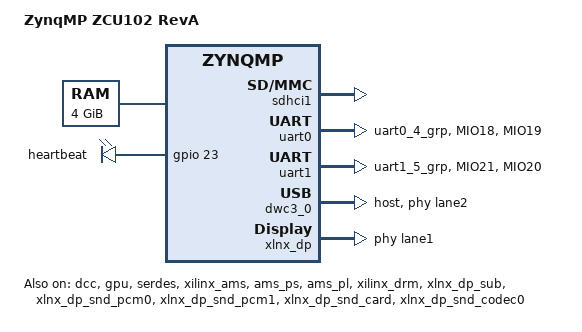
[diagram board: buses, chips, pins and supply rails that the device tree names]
/*
 * dts file for Xilinx ZynqMP ZCU102 RevA
 *
 * (C) Copyright 2015, Xilinx, Inc.
 *
 * Michal Simek <michal.simek@xilinx.com>
 *
 * SPDX-License-Identifier:	GPL-2.0+
 */

/dts-v1/;

#include "zynqmp.dtsi"
#include "zynqmp-clk-ccf.dtsi"
#include <dt-bindings/gpio/gpio.h>
#include <dt-bindings/pinctrl/pinctrl-zynqmp.h>
#include <dt-bindings/phy/phy.h>

/ {
	model = "ZynqMP ZCU102 RevA";
	compatible = "xlnx,zynqmp-zcu102-revA", "xlnx,zynqmp-zcu102", "xlnx,zynqmp";

	aliases {
		ethernet0 = &gem3;
		gpio0 = &gpio;
		i2c0 = &i2c0;
		i2c1 = &i2c1;
		mmc1 = &sdhci1;
                mmc0 = &sdhci0;
		rtc0 = &rtc;
		serial0 = &uart0;
		serial1 = &uart1;
		serial2 = &dcc;
		spi0 = &qspi;
		usb0 = &usb0;
	};
	chosen {
		bootargs = "earlycon";
		stdout-path = "serial0:115200n8";
	};

	memory@0 {
		device_type = "memory";
		reg = <0x0 0x0 0x0 0x80000000>, <0x8 0x00000000 0x0 0x80000000>;
	};


	leds {
		compatible = "gpio-leds";
		heartbeat_led {
			label = "heartbeat";
			gpios = <&gpio 23 GPIO_ACTIVE_HIGH>;
			linux,default-trigger = "heartbeat";
		};
	};
};


&dcc {
	status = "okay";
};

/* fpd_dma clk 667MHz, lpd_dma 500MHz */
&fpd_dma_chan1 {
	status = "okay";
	xlnx,include-sg; /* for testing purpose */
	xlnx,overfetch; /* for testing purpose */
	xlnx,ratectrl = <0>; /* for testing purpose */
	xlnx,src-issue = <31>;
};

&fpd_dma_chan2 {
	status = "okay";
	xlnx,ratectrl = <100>; /* for testing purpose */
	xlnx,src-issue = <4>; /* for testing purpose */
};

&fpd_dma_chan3 {
	status = "okay";
};

&fpd_dma_chan4 {
	status = "okay";
	xlnx,include-sg; /* for testing purpose */
};

&fpd_dma_chan5 {
	status = "okay";
};

&fpd_dma_chan6 {
	status = "okay";
	xlnx,include-sg; /* for testing purpose */
};

&fpd_dma_chan7 {
	status = "okay";
};

&fpd_dma_chan8 {
	status = "okay";
	xlnx,include-sg; /* for testing purpose */
};

&gem3 {
	local-mac-address = [00 0a 35 00 22 01];
};


&gpu {
	status = "okay";
};




&pinctrl0 {
	status = "okay";


	pinctrl_uart0_default: uart0-default {
		mux {
			groups = "uart0_4_grp";
			function = "uart0";
		};

		conf {
			groups = "uart0_4_grp";
			slew-rate = <SLEW_RATE_SLOW>;
			io-standard = <IO_STANDARD_LVCMOS18>;
		};

		conf-rx {
			pins = "MIO18";
			bias-high-impedance;
		};

		conf-tx {
			pins = "MIO19";
			bias-disable;
		};
	};

	pinctrl_uart1_default: uart1-default {
		mux {
			groups = "uart1_5_grp";
			function = "uart1";
		};

		conf {
			groups = "uart1_5_grp";
			slew-rate = <SLEW_RATE_SLOW>;
			io-standard = <IO_STANDARD_LVCMOS18>;
		};

		conf-rx {
			pins = "MIO21";
			bias-high-impedance;
		};

		conf-tx {
			pins = "MIO20";
			bias-disable;
		};
	};

	
	pinctrl_gem3_default: gem3-default {
		mux {
			function = "ethernet3";
			groups = "ethernet3_0_grp";
		};

		conf {
			groups = "ethernet3_0_grp";
			slew-rate = <SLEW_RATE_SLOW>;
			io-standard = <IO_STANDARD_LVCMOS18>;
		};

		conf-rx {
			pins = "MIO70", "MIO71", "MIO72", "MIO73", "MIO74",
									"MIO75";
			bias-high-impedance;
			low-power-disable;
		};

		conf-tx {
			pins = "MIO64", "MIO65", "MIO66", "MIO67", "MIO68",
									"MIO69";
			bias-disable;
			low-power-enable;
		};

		mux-mdio {
			function = "mdio3";
			groups = "mdio3_0_grp";
		};

		conf-mdio {
			groups = "mdio3_0_grp";
			slew-rate = <SLEW_RATE_SLOW>;
			io-standard = <IO_STANDARD_LVCMOS18>;
			bias-disable;
		};
	};



	pinctrl_sdhci1_default: sdhci1-default {
		mux {
			groups = "sdio1_0_grp";
			function = "sdio1";
		};

		conf {
			groups = "sdio1_0_grp";
			slew-rate = <SLEW_RATE_SLOW>;
			io-standard = <IO_STANDARD_LVCMOS18>;
			bias-disable;
		};

		mux-cd {
			groups = "sdio1_0_cd_grp";
			function = "sdio1_cd";
		};

		conf-cd {
			groups = "sdio1_0_cd_grp";
			bias-high-impedance;
			bias-pull-up;
			slew-rate = <SLEW_RATE_SLOW>;
			io-standard = <IO_STANDARD_LVCMOS18>;
		};

		mux-wp {
			groups = "sdio1_0_wp_grp";
			function = "sdio1_wp";
		};

		conf-wp {
			groups = "sdio1_0_wp_grp";
			bias-high-impedance;
			bias-pull-up;
			slew-rate = <SLEW_RATE_SLOW>;
			io-standard = <IO_STANDARD_LVCMOS18>;
		};
	};

	
};





/* SD1 with level shifter */
&sdhci1 {
	status = "okay";
        disable-wp;
        xlinx,mio_bank = <0x1>;
        no-1-8-v;
};

&sdhci0 {
	status = "disabled";
        disable-wp;
        xlinx,mio_bank = <0x0>;
        no-1-8-v;
};
&serdes {
	status = "okay";
};

&uart0 {
	status = "okay";
	pinctrl-names = "default";
	pinctrl-0 = <&pinctrl_uart0_default>;
};

&uart1 {
	status = "okay";
	pinctrl-names = "default";
	pinctrl-0 = <&pinctrl_uart1_default>;
};



&dwc3_0 {
	status = "okay";
	dr_mode = "host";
	snps,usb3_lpm_capable;
	phy-names = "usb3-phy";
	phys = <&lane2 PHY_TYPE_USB3 0 2 26000000>;
	maximum-speed = "super-speed";
};



&xilinx_ams {
	status = "okay";
};

&ams_ps {
	status = "okay";
};

&ams_pl {
	status = "okay";
};

&xilinx_drm {
	status = "okay";
};

&xlnx_dp {
	status = "okay";
	phy-names = "dp-phy0";
	phys = <&lane1 PHY_TYPE_DP 0 3 27000000>;
	xlnx,max-lanes = <1>;
};

&xlnx_dp_sub {
	status = "okay";
};

&xlnx_dp_snd_pcm0 {
	status = "okay";
};

&xlnx_dp_snd_pcm1 {
	status = "okay";
};

&xlnx_dp_snd_card {
	status = "okay";
};

&xlnx_dp_snd_codec0 {
	status = "okay";
};

&xlnx_dpdma {
	status = "okay";
};
